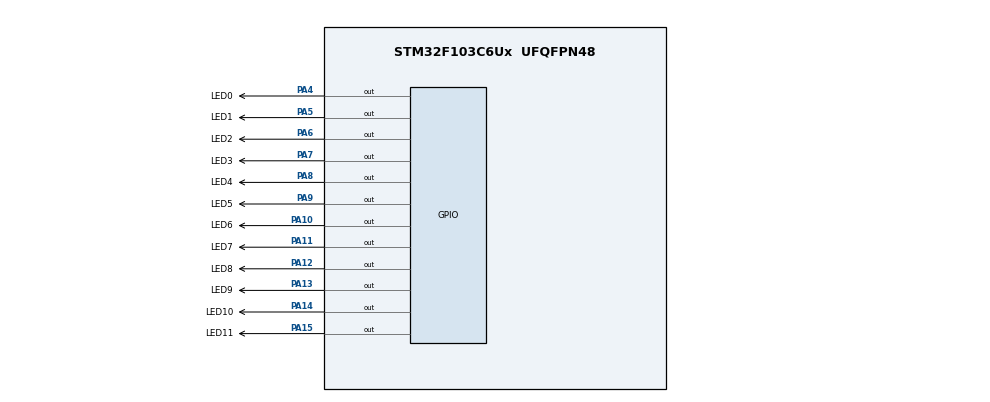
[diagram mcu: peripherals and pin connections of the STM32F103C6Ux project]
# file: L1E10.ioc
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Mcu.Family=STM32F1
Mcu.Name=STM32F103C6Ux
Mcu.Package=UFQFPN48
NVIC.PriorityGroup=NVIC_PRIORITYGROUP_4
PA10.GPIO_Label=LED6
PA10.Signal=GPIO_Output
PA11.GPIO_Label=LED7
PA11.Signal=GPIO_Output
PA12.GPIO_Label=LED8
PA12.Signal=GPIO_Output
PA13.GPIO_Label=LED9
PA13.Signal=GPIO_Output
PA14.GPIO_Label=LED10
PA14.Signal=GPIO_Output
PA15.GPIO_Label=LED11
PA15.Signal=GPIO_Output
PA4.GPIO_Label=LED0
PA4.Signal=GPIO_Output
PA5.GPIO_Label=LED1
PA5.Signal=GPIO_Output
PA6.GPIO_Label=LED2
PA6.Signal=GPIO_Output
PA7.GPIO_Label=LED3
PA7.Signal=GPIO_Output
PA8.GPIO_Label=LED4
PA8.Signal=GPIO_Output
PA9.GPIO_Label=LED5
PA9.Signal=GPIO_Output
ProjectManager.HeapSize=0x200
ProjectManager.StackSize=0x400
ProjectManager.TargetToolchain=STM32CubeIDE
RCC.APB1Freq_Value=8000000
RCC.APB2Freq_Value=8000000
VP_SYS_VS_ND.Mode=No_Debug
board=custom

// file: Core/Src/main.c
/* USER CODE BEGIN Header */
/**
  ******************************************************************************
  * @file           : main.c
  * @brief          : Main program body
  ******************************************************************************
  * @attention
  *
  * <h2><center>&copy; Copyright (c) 2023 STMicroelectronics.
  * All rights reserved.</center></h2>
  *
  * This software component is licensed by ST under BSD 3-Clause license,
  * the "License"; You may not use this file except in compliance with the
  * License. You may obtain a copy of the License at:
  *                        opensource.org/licenses/BSD-3-Clause
  *
  ******************************************************************************
  */
/* USER CODE END Header */
#include "main.h"

void SystemClock_Config(void);
static void MX_GPIO_Init(void);
/* USER CODE BEGIN PFP */
void clearAllClock(void);
void setNumberOnClock(int);
void clearNumberOnClock(int);
/* USER CODE END PFP */

int main(void)
{

  /* MCU Configuration--------------------------------------------------------*/

  /* Reset of all peripherals, Initializes the Flash interface and the Systick. */
  HAL_Init();

  /* Configure the system clock */
  SystemClock_Config();

  /* Initialize all configured peripherals */
  MX_GPIO_Init();

  /* Infinite loop */
  /* USER CODE BEGIN WHILE */
  int hour = 0, min = 0, sec = 0;
  int pHour, pMin, pSec;
  int initial = 1;

  clearAllClock();

  while (1)
  {
    /* USER CODE END WHILE */
	  if (hour >= 12){
	  	  	  hour = 0;
	  	  	  pHour = 11;
	  	  }
	  	  else pHour = hour - 1;

	  	  if (min >= 60){
	  	  	  min = 0;
	  	  	  pMin = 59;
	  		  hour++;
	  	  }
	  	  else pMin = min - 1;

	  	  if (sec >= 60){
	  		  sec = 0;
	  		  pSec = 59;
	  		  min++;
	  	  }
	  	  else pSec = sec - 1;

	  	  if (initial){
	  		  setNumberOnClock(sec/5);
	  		  initial = 0;
	  	  }

	  	  else{
	  		  if (sec/5 != pSec/5 && sec/5 != min/5 && sec/5 != hour) setNumberOnClock(sec/5);
	  		  if (pSec/5 != sec/5 && pSec/5 != min/5 && pSec/5 != hour) clearNumberOnClock(pSec/5);

	  		  if (min/5 != pMin/5 && min/5 != sec/5 && min/5 != hour) setNumberOnClock(min/5);
	  		  if (pMin/5 != min/5 && pMin/5 != sec/5 && pMin/5 != hour) clearNumberOnClock(pMin/5);

	  		  if (hour != sec/5 && hour != min/5) setNumberOnClock(hour);
	  		  if (pHour != hour && pHour != sec/5 && pHour != min/5) clearNumberOnClock(pHour);
	  	  }

	  	  sec++;

	  	  HAL_Delay(100);
  }
}

void SystemClock_Config(void)
{
  RCC_OscInitTypeDef RCC_OscInitStruct = {0};
  RCC_ClkInitTypeDef RCC_ClkInitStruct = {0};

  /** Initializes the RCC Oscillators according to the specified parameters
  * in the RCC_OscInitTypeDef structure.
  */
  RCC_OscInitStruct.OscillatorType = RCC_OSCILLATORTYPE_HSI;
  RCC_OscInitStruct.HSIState = RCC_HSI_ON;
  RCC_OscInitStruct.HSICalibrationValue = RCC_HSICALIBRATION_DEFAULT;
  RCC_OscInitStruct.PLL.PLLState = RCC_PLL_NONE;
  if (HAL_RCC_OscConfig(&RCC_OscInitStruct) != HAL_OK)
  {
    Error_Handler();
  }
  /** Initializes the CPU, AHB and APB buses clocks
  */
  RCC_ClkInitStruct.ClockType = RCC_CLOCKTYPE_HCLK|RCC_CLOCKTYPE_SYSCLK
                              |RCC_CLOCKTYPE_PCLK1|RCC_CLOCKTYPE_PCLK2;
  RCC_ClkInitStruct.SYSCLKSource = RCC_SYSCLKSOURCE_HSI;
  RCC_ClkInitStruct.AHBCLKDivider = RCC_SYSCLK_DIV1;
  RCC_ClkInitStruct.APB1CLKDivider = RCC_HCLK_DIV1;
  RCC_ClkInitStruct.APB2CLKDivider = RCC_HCLK_DIV1;

  if (HAL_RCC_ClockConfig(&RCC_ClkInitStruct, FLASH_LATENCY_0) != HAL_OK)
  {
    Error_Handler();
  }
}

static void MX_GPIO_Init(void)
{
  GPIO_InitTypeDef GPIO_InitStruct = {0};

  /* GPIO Ports Clock Enable */
  __HAL_RCC_GPIOA_CLK_ENABLE();

  /*Configure GPIO pin Output Level */
  HAL_GPIO_WritePin(GPIOA, LED0_Pin|LED1_Pin|LED2_Pin|LED3_Pin
                          |LED4_Pin|LED5_Pin|LED6_Pin|LED7_Pin
                          |LED8_Pin|LED9_Pin|LED10_Pin|LED11_Pin, GPIO_PIN_RESET);

  /*Configure GPIO pins : LED0_Pin LED1_Pin LED2_Pin LED3_Pin
                           LED4_Pin LED5_Pin LED6_Pin LED7_Pin
                           LED8_Pin LED9_Pin LED10_Pin LED11_Pin */
  GPIO_InitStruct.Pin = LED0_Pin|LED1_Pin|LED2_Pin|LED3_Pin
                          |LED4_Pin|LED5_Pin|LED6_Pin|LED7_Pin
                          |LED8_Pin|LED9_Pin|LED10_Pin|LED11_Pin;
  GPIO_InitStruct.Mode = GPIO_MODE_OUTPUT_PP;
  GPIO_InitStruct.Pull = GPIO_NOPULL;
  GPIO_InitStruct.Speed = GPIO_SPEED_FREQ_LOW;
  HAL_GPIO_Init(GPIOA, &GPIO_InitStruct);

}

/* USER CODE BEGIN 4 */
void clearAllClock(){
	HAL_GPIO_WritePin(GPIOA , LED0_Pin | LED1_Pin | LED2_Pin | LED3_Pin | LED4_Pin | LED5_Pin |
						LED6_Pin | LED7_Pin | LED8_Pin | LED9_Pin | LED10_Pin | LED11_Pin , GPIO_PIN_SET);
}

void setNumberOnClock(int num){
	switch(num){
			case 0:
				HAL_GPIO_WritePin(GPIOA , LED0_Pin , GPIO_PIN_RESET);
				break;

			case 1:
				HAL_GPIO_WritePin(GPIOA , LED1_Pin , GPIO_PIN_RESET);
				break;

			case 2:
				HAL_GPIO_WritePin(GPIOA , LED2_Pin , GPIO_PIN_RESET);
				break;

			case 3:
				HAL_GPIO_WritePin(GPIOA , LED3_Pin , GPIO_PIN_RESET);
				break;

			case 4:
				HAL_GPIO_WritePin(GPIOA , LED4_Pin , GPIO_PIN_RESET);
				break;

			case 5:
				HAL_GPIO_WritePin(GPIOA , LED5_Pin , GPIO_PIN_RESET);
				break;

			case 6:
				HAL_GPIO_WritePin(GPIOA , LED6_Pin , GPIO_PIN_RESET);
				break;

			case 7:
				HAL_GPIO_WritePin(GPIOA , LED7_Pin , GPIO_PIN_RESET);
				break;

			case 8:
				HAL_GPIO_WritePin(GPIOA , LED8_Pin , GPIO_PIN_RESET);
				break;

			case 9:
				HAL_GPIO_WritePin(GPIOA , LED9_Pin , GPIO_PIN_RESET);
				break;

			case 10:
				HAL_GPIO_WritePin(GPIOA , LED10_Pin , GPIO_PIN_RESET);
				break;

			case 11:
				HAL_GPIO_WritePin(GPIOA , LED11_Pin , GPIO_PIN_RESET);
				break;

			default:
				break;
		}
}

void clearNumberOnClock(int num){
	switch(num){
	case 0:
					HAL_GPIO_WritePin(GPIOA , LED0_Pin , GPIO_PIN_SET);
					break;

				case 1:
					HAL_GPIO_WritePin(GPIOA , LED1_Pin , GPIO_PIN_SET);
					break;

				case 2:
					HAL_GPIO_WritePin(GPIOA , LED2_Pin , GPIO_PIN_SET);
					break;

				case 3:
					HAL_GPIO_WritePin(GPIOA , LED3_Pin , GPIO_PIN_SET);
					break;

				case 4:
					HAL_GPIO_WritePin(GPIOA , LED4_Pin , GPIO_PIN_SET);
					break;

				case 5:
					HAL_GPIO_WritePin(GPIOA , LED5_Pin , GPIO_PIN_SET);
					break;

				case 6:
					HAL_GPIO_WritePin(GPIOA , LED6_Pin , GPIO_PIN_SET);
					break;

				case 7:
					HAL_GPIO_WritePin(GPIOA , LED7_Pin , GPIO_PIN_SET);
					break;

				case 8:
					HAL_GPIO_WritePin(GPIOA , LED8_Pin , GPIO_PIN_SET);
					break;

				case 9:
					HAL_GPIO_WritePin(GPIOA , LED9_Pin , GPIO_PIN_SET);
					break;

				case 10:
					HAL_GPIO_WritePin(GPIOA , LED10_Pin , GPIO_PIN_SET);
					break;

				case 11:
					HAL_GPIO_WritePin(GPIOA , LED11_Pin , GPIO_PIN_SET);
					break;

				default:
					break;
		}
}
/* USER CODE END 4 */

void Error_Handler(void)
{
  __disable_irq();
  while (1)
  {
  }
}

/************************ (C) COPYRIGHT STMicroelectronics *****END OF FILE****/
